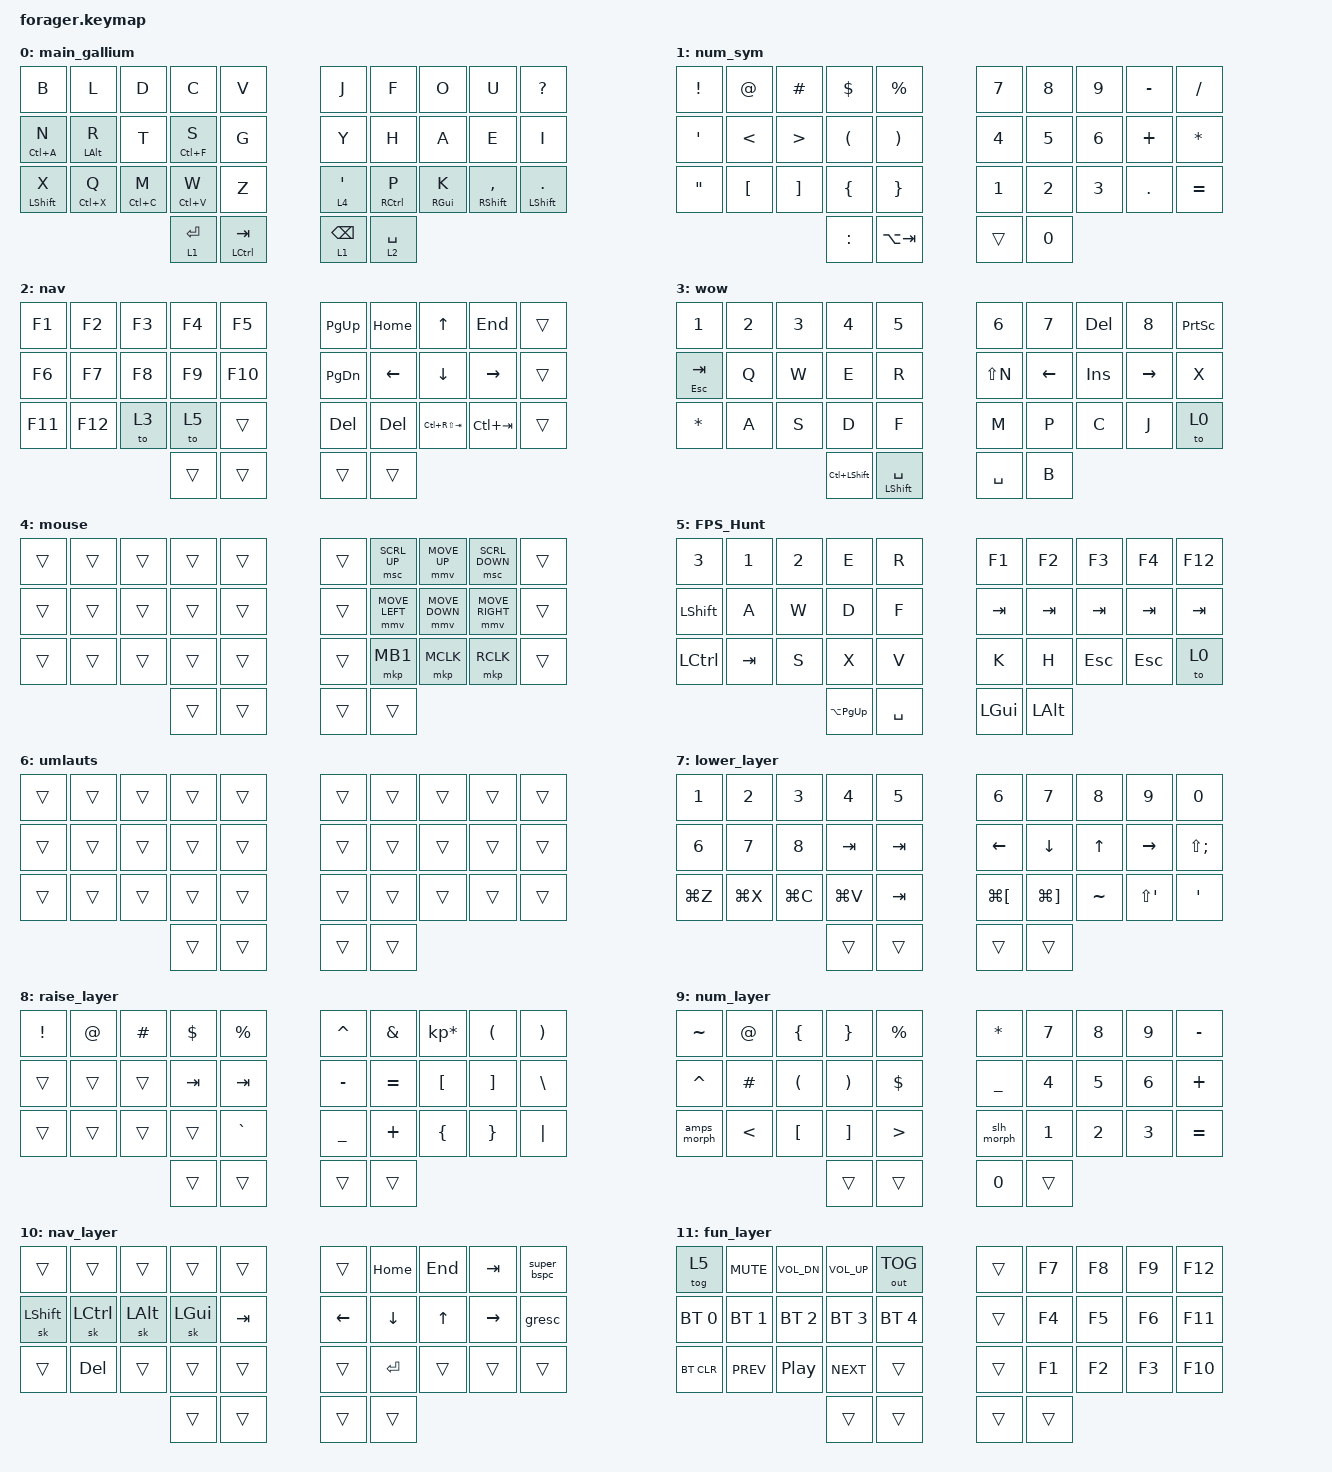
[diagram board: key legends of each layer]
/*
 * Copyright (c) 2020 The ZMK Contributors
 *
 * SPDX-License-Identifier: MIT
 */

#include <behaviors.dtsi>
#include <dt-bindings/zmk/bt.h>
#include <dt-bindings/zmk/keys.h>
#include <dt-bindings/zmk/outputs.h>
#include <dt-bindings/zmk/pointing.h>

#define DEFAULT 0
#define COLEMAK 1
#define LOWER 2
#define RAISE 3
#define NUM 4
#define NAV 5
#define FUN 6
#define NUMS 3
#define ADJUST 4
#define LOCK 5
#define BACK C_AC_BACK
#define FWD C_AC_FORWARD
#define PAUSE PAUSE_BREAK
#define VOL_DN C_VOL_DN
#define VOL_UP C_VOL_UP
#define LC_SPC LC(SPACE)
#define ZM_IN LC(EQUAL)
#define ZM_OUT LC(MINUS)
#define ZM_RST LC(N0)
#define BT0 BT_SEL 0
#define BT1 BT_SEL 1
#define BT2 BT_SEL 2
#define BT3 BT_SEL 3
#define BT4 BT_SEL 4
#define HYP LS(LC(LA(LGUI)))

#define HYPER(key) LS(LC(LA(LG(key))))

// key positions
// --------------------------------------------------------------------------------
//  |  0  |  1  |  2  |  3  |  4  |     |  5  |  6  |  7  |  8  |  9  |
//  |  10 |  11 |  12 |  13 |  14 |     |  15 |  16 |  17 |  18 |  19 |
//  |  20 |  21 |  22 |  23 |  24 |     |  25 |  26 |  27 |  28 |  29 |
//                    |  30 |  31 |     |  32 |  33 |

#define KEYS_L 0 1 2 3 4 10 11 12 13 14 20 21 22 23 24 // left-hand keys
#define KEYS_R 5 6 7 8 9 15 16 17 18 19 25 26 27 28 29 // right-hand keys
#define THUMBS 30 31 32 33                             // thumb keys

// &nice_view_spi {
//  cs-gpios = <&pro_micro 0 GPIO_ACTIVE_HIGH>;
// };

&mt { retro-tap; };

&sk {
    //release-after-ms = <2000>;

    quick-release;

    // /delete-property/ ignore-modifiers;
};

&lt {
    quick-tap-ms = <200>;

    //tapping-term-ms = <250>;
};

/ {
    // conditional_layers {
    //   compatible = "zmk,conditional-layers";
    //
    //   tri_layer {
    //     if-layers = <LOWER RAISE>;
    //     then-layer = <ADJUST>;
    //   };
    // };

    conditional_layers {
        compatible = "zmk,conditional-layers";

        tri_layer {
            // if-layers = <NUM NAV>;

            if-layers = <7 8>;
            then-layer = <11>;
        };
    };

    macros {
        none_blk: none_blk {
            label = "NON_BLOCKING";
            compatible = "zmk,behavior-macro";
            #binding-cells = <0>;
            bindings = <&macro_tap>, <&kp LS(COMMA) &kp EQUAL>;
        };

        cmd_mode: cmd_mode {
            label = "VIM_CMD_MODE";
            compatible = "zmk,behavior-macro";
            #binding-cells = <0>;
            bindings = <&macro_tap>, <&kp ESC &kp LS(SEMI)>;
        };
    };

    combos {
        compatible = "zmk,combos";

        combo_caps {
            timeout-ms = <50>;
            key-positions = <20 29>;
            bindings = <&caps_word>;
        };

        combo_esc {
            timeout-ms = <50>;
            key-positions = <16 17>;
            bindings = <&kp ESC>;
        };

        smartshift {
            timeout-ms = <50>;
            key-positions = <18 19>;
            bindings = <&smart_shft>;
        };

        backspace {
            bindings = <&kp BACKSPACE>;
            key-positions = <20 21>;
        };

        esc2 {
            bindings = <&kp ESC>;
            key-positions = <0 1>;
            timeout-ms = <50>;
        };

        enter {
            bindings = <&kp ENTER>;
            key-positions = <29 28>;
        };

        screencap {
            bindings = <&kp LS(LG(S))>;
            key-positions = <20 12>;
        };
    };

    behaviors {
        hml: home_mode_left {
            compatible = "zmk,behavior-hold-tap";
            label = "HML";
            #binding-cells = <2>;
            flavor = "balanced";
            tapping-term-ms = <280>;
            quick-tap-ms = <175>;                 // repeat on tap-into-hold
            require-prior-idle-ms = <150>;
            bindings = <&kp>, <&kp>;

            hold-trigger-key-positions = <KEYS_R THUMBS>;
            hold-trigger-on-release;              // delay positional check until key-release
        };

        hmr: home_mode_right {
            compatible = "zmk,behavior-hold-tap";
            label = "HMR";
            #binding-cells = <2>;
            flavor = "balanced";
            tapping-term-ms = <280>;
            quick-tap-ms = <175>;                 // repeat on tap-into-hold
            require-prior-idle-ms = <150>;
            bindings = <&kp>, <&kp>;

            hold-trigger-key-positions = <KEYS_L THUMBS>;
            hold-trigger-on-release;              // delay positional check until key-release
        };

        bspc_del: backspace_delete {
            compatible = "zmk,behavior-mod-morph";
            #binding-cells = <0>;
            bindings = <&kp BACKSPACE>, <&kp DELETE>;

            mods = <(MOD_LSFT|MOD_RSFT)>;
            keep-mods = <(MOD_RSFT)>;
        };

        super_bspc: super_backspace {
            compatible = "zmk,behavior-mod-morph";
            #binding-cells = <0>;
            bindings = <&kp BACKSPACE>, <&kp LA(BACKSPACE)>;

            mods = <(MOD_LSFT|MOD_RSFT)>;
        };

        smart_shft: smart_shift {
            compatible = "zmk,behavior-mod-morph";
            #binding-cells = <0>;
            bindings = <&kp LSHFT>, <&caps_word>;

            mods = <(MOD_LSFT)>;
        };

        comma_semi: comma_semi {
            compatible = "zmk,behavior-mod-morph";
            #binding-cells = <0>;
            bindings = <&kp COMMA>, <&kp SEMI>;

            mods = <(MOD_LSFT)>;
        };

        dot_colon: dot_colon {
            compatible = "zmk,behavior-mod-morph";
            #binding-cells = <0>;
            bindings = <&kp DOT>, <&kp COLON>;

            mods = <(MOD_LSFT)>;
        };

        qmrk_excl: qmrk_excl {
            compatible = "zmk,behavior-mod-morph";
            #binding-cells = <0>;
            bindings = <&kp QMARK>, <&kp EXCL>;

            mods = <(MOD_LSFT)>;
        };

        slh_morph: slh_morph {
            compatible = "zmk,behavior-mod-morph";
            #binding-cells = <0>;
            bindings = <&kp FSLH>, <&kp BSLH>;

            mods = <(MOD_LSFT)>;
        };

        amps_morph: amps_morph {
            compatible = "zmk,behavior-mod-morph";
            #binding-cells = <0>;
            bindings = <&kp AMPS>, <&kp PIPE>;

            mods = <(MOD_LSFT)>;
        };

        holdlayer: holdlayer {
            compatible = "zmk,behavior-hold-tap";
            label = "HOLDLAYER";
            bindings = <&to>, <&kp>;

            #binding-cells = <2>;
            tapping-term-ms = <250>;
            flavor = "balanced";
        };
    };

    keymap {
        compatible = "zmk,keymap";

        main_gallium {
            bindings = <
&kp B              &kp L            &kp D         &kp C         &kp V           &kp J            &kp F         &kp O        &kp U             &kp QUESTION
&hml LC(A) N       &hml LEFT_ALT R  &kp T         &hml LC(F) S  &kp G           &kp Y            &kp H         &kp A        &kp E             &kp I
&hml LEFT_SHIFT X  &hml LC(X) Q     &hml LC(C) M  &hml LC(V) W  &kp Z           &lt 4 APOS       &hmr RCTRL P  &hmr RGUI K  &hmr RSHFT COMMA  &hmr LEFT_SHIFT PERIOD
                                                  &lt 1 RET     &hml LCTRL TAB  &lt 1 BACKSPACE  &lt 2 SPACE
            >;
        };

        num_sym {
            bindings = <
&kp EXCL           &kp AT_SIGN       &kp POUND          &kp DOLLAR            &kp PERCENT            &kp N7  &kp N8  &kp N9  &kp MINUS  &kp FSLH
&kp SQT            &kp LESS_THAN     &kp GREATER_THAN   &kp LEFT_PARENTHESIS  &kp RIGHT_PARENTHESIS  &kp N4  &kp N5  &kp N6  &kp PLUS   &kp STAR
&kp DOUBLE_QUOTES  &kp LEFT_BRACKET  &kp RIGHT_BRACKET  &kp LEFT_BRACE        &kp RIGHT_BRACE        &kp N1  &kp N2  &kp N3  &kp DOT    &kp EQUAL
                                                        &kp COLON             &kp LA(TAB)            &trans  &kp N0
            >;
        };

        nav {
            bindings = <
&kp F1   &kp F2   &kp F3  &kp F4  &kp F5   &kp PG_UP      &kp HOME    &kp UP           &kp END      &trans
&kp F6   &kp F7   &kp F8  &kp F9  &kp F10  &kp PAGE_DOWN  &kp LEFT    &kp DOWN         &kp RIGHT    &trans
&kp F11  &kp F12  &to 3   &to 5   &trans   &kp DEL        &kp DELETE  &kp LC(RS(TAB))  &kp LC(TAB)  &trans
                          &trans  &trans   &trans         &trans
            >;
        };

        wow {
            bindings = <
&kp N1           &kp N2  &kp N3  &kp N4              &kp N5                 &kp N6     &kp N7    &kp DEL  &kp N8     &kp PRINTSCREEN
&hml ESCAPE TAB  &kp Q   &kp W   &kp E               &kp R                  &kp LS(N)  &kp LEFT  &kp INS  &kp RIGHT  &kp X
&kp ASTERISK     &kp A   &kp S   &kp D               &kp F                  &kp M      &kp P     &kp C    &kp J      &to 0
                                 &kp LC(LEFT_SHIFT)  &hml LEFT_SHIFT SPACE  &kp SPACE  &kp B
            >;
        };

        mouse {
            bindings = <
&trans  &trans  &trans  &trans  &trans  &trans  &msc SCRL_UP    &mmv MOVE_UP    &msc SCRL_DOWN   &trans
&trans  &trans  &trans  &trans  &trans  &trans  &mmv MOVE_LEFT  &mmv MOVE_DOWN  &mmv MOVE_RIGHT  &trans
&trans  &trans  &trans  &trans  &trans  &trans  &mkp MB1        &mkp MCLK       &mkp RCLK        &trans
                        &trans  &trans  &trans  &trans
            >;
        };

        FPS_Hunt {
            bindings = <
&kp N3     &kp N1   &kp N2  &kp E            &kp R      &kp F1    &kp F2    &kp F3   &kp F4   &kp F12
&kp LSHFT  &kp A    &kp W   &kp D            &kp F      &kp TAB   &kp TAB   &kp TAB  &kp TAB  &kp TAB
&kp LCTRL  &kp TAB  &kp S   &kp X            &kp V      &kp K     &kp H     &kp ESC  &kp ESC  &to 0
                            &kp LA(PAGE_UP)  &kp SPACE  &kp LGUI  &kp LALT
            >;
        };

        umlauts {
            bindings = <
&trans  &trans  &trans  &trans  &trans  &trans  &trans  &trans  &trans  &trans
&trans  &trans  &trans  &trans  &trans  &trans  &trans  &trans  &trans  &trans
&trans  &trans  &trans  &trans  &trans  &trans  &trans  &trans  &trans  &trans
                        &trans  &trans  &trans  &trans
            >;
        };

        lower_layer {
            bindings = <
&kp N1     &kp N2     &kp N3     &kp N4     &kp N5   &kp N6        &kp N7        &kp N8     &kp N9       &kp N0
&kp N6     &kp N7     &kp N8     &kp TAB    &kp TAB  &kp LEFT      &kp DOWN      &kp UP     &kp RIGHT    &kp LS(SEMI)
&kp LG(Z)  &kp LG(X)  &kp LG(C)  &kp LG(V)  &kp TAB  &kp LG(LBKT)  &kp LG(RBKT)  &kp TILDE  &kp LS(SQT)  &kp SQT
                                 &trans     &trans   &trans        &trans
            >;
        };

        raise_layer {
            bindings = <
&kp EXCL  &kp AT  &kp HASH  &kp DLLR  &kp PRCNT  &kp CARET  &kp AMPS   &kp KP_MULTIPLY  &kp LPAR  &kp RPAR
&trans    &trans  &trans    &kp TAB   &kp TAB    &kp MINUS  &kp EQUAL  &kp LBKT         &kp RBKT  &kp BSLH
&trans    &trans  &trans    &trans    &kp GRAVE  &kp UNDER  &kp PLUS   &kp LBRC         &kp RBRC  &kp PIPE
                            &trans    &trans     &trans     &trans
            >;
        };

        num_layer {
            bindings = <
&kp TILDE    &kp AT    &kp LBRC  &kp RBRC  &kp PRCNT  &kp STAR    &kp N7  &kp N8  &kp N9  &kp MINUS
&kp CARET    &kp HASH  &kp LPAR  &kp RPAR  &kp DLLR   &kp UNDER   &kp N4  &kp N5  &kp N6  &kp PLUS
&amps_morph  &kp LT    &kp LBKT  &kp RBKT  &kp GT     &slh_morph  &kp N1  &kp N2  &kp N3  &kp EQUAL
                                 &trans    &trans     &kp N0      &trans
            >;
        };

        nav_layer {
            bindings = <
&trans     &trans     &trans    &trans    &trans   &trans    &kp HOME  &kp END  &kp TAB    &super_bspc
&sk LSHFT  &sk LCTRL  &sk LALT  &sk LGUI  &kp TAB  &kp LEFT  &kp DOWN  &kp UP   &kp RIGHT  &gresc
&trans     &kp DEL    &trans    &trans    &trans   &trans    &kp RET   &trans   &trans     &trans
                                &trans    &trans   &trans    &trans
            >;
        };

        fun_layer {
            bindings = <
&tog 5        &kp K_MUTE    &kp C_VOL_DN  &kp C_VOL_UP  &out OUT_TOG  &trans  &kp F7  &kp F8  &kp F9  &kp F12
&bt BT_SEL 0  &bt BT_SEL 1  &bt BT_SEL 2  &bt BT_SEL 3  &bt BT_SEL 4  &trans  &kp F4  &kp F5  &kp F6  &kp F11
&bt BT_CLR    &kp C_PREV    &kp C_PP      &kp C_NEXT    &trans        &trans  &kp F1  &kp F2  &kp F3  &kp F10
                                          &trans        &trans        &trans  &trans
            >;
        };
    };
};
